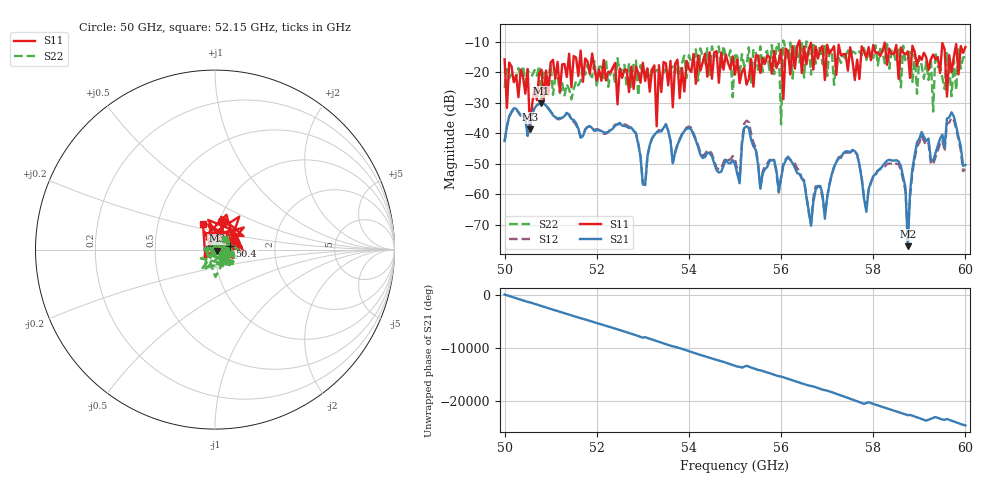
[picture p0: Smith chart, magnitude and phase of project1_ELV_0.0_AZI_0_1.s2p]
! 10/29/2026 4:18:14 PM
! C:\ANRITSUVNA\TEMP\TEMP.S2P
! CHANNEL.1
! TR.MEASUREMENT
! RAW.DATA
# HZ S RI R 50.0
! FREQ.HZ  S11RE  S11IM  S21RE  S21IM  S12RE  S12IM  S22RE  S22IM
!; PortSelection: Port_12
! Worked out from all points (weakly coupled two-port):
!   201 points, 50 GHz to 60 GHz, reference 50 ohm
!   highest |S21| = -30.13 dB at 50.8 GHz (marker M1); lowest = -77.1 dB at 58.75 GHz (marker M2)
!   lowest |S11| = -38.7 dB at 50.55 GHz (marker M3), VSWR 1.02, Z = 51 - j0.672 ohm
!   |S11| at or under -10 dB: start of sweep to 56.39 GHz; 56.4 GHz to end of sweep
!   |S22| runs from -37.0 to -9.5 dB; largest |S21 - S12| = 0.048
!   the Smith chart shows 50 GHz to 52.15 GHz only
!   S11 on the Smith chart (normalised r, x): 50 GHz: 1.02, +0.34; 50.4 GHz: 1.18, +0.05; 52.15 GHz: 0.84, +0.25
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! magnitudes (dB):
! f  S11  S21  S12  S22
! 50 GHz  -15.7  -42.5  -42.7  -25.1
! 50.4 GHz  -21.4  -34.1  -34.2  -17.9
! 50.55 GHz  -38.7  -36.6  -36.8  -20.9
! 50.8 GHz  -19.1  -30.1  -30.1  -28.5
! 51.7 GHz  -23.1  -40.9  -40.7  -17.9
! 52.15 GHz  -15.9  -39.7  -40.2  -21.9
! 53.05 GHz  -22.8  -57.0  -57.0  -20.3
! 53.25 GHz  -17.7  -40.5  -40.5  -19.9
! 53.3 GHz  -37.7  -39.7  -39.6  -19.2
! 53.35 GHz  -17.6  -39.4  -38.9  -20.1
! 55 GHz  -20.7  -50.2  -48.4  -13.5
! 55.95 GHz  -16.3  -59.1  -59.4  -10.3
! 56 GHz  -12.5  -54.9  -54.4  -37.0
! 56.05 GHz  -28.8  -50.5  -49.8  -9.5
! 56.1 GHz  -12.1  -49.0  -48.5  -12.3
! 56.7 GHz  -19.0  -62.5  -61.1  -10.1
! 58.35 GHz  -12.2  -48.7  -49.9  -18.8
! 58.75 GHz  -13.1  -77.1  -73.2  -15.4
! 59.05 GHz  -15.8  -39.6  -40.8  -17.6
! 59.3 GHz  -14.1  -49.1  -50.2  -32.9
! 59.35 GHz  -15.6  -46.5  -47.8  -13.4
! 60 GHz  -11.7  -50.4  -51.8  -15.0
